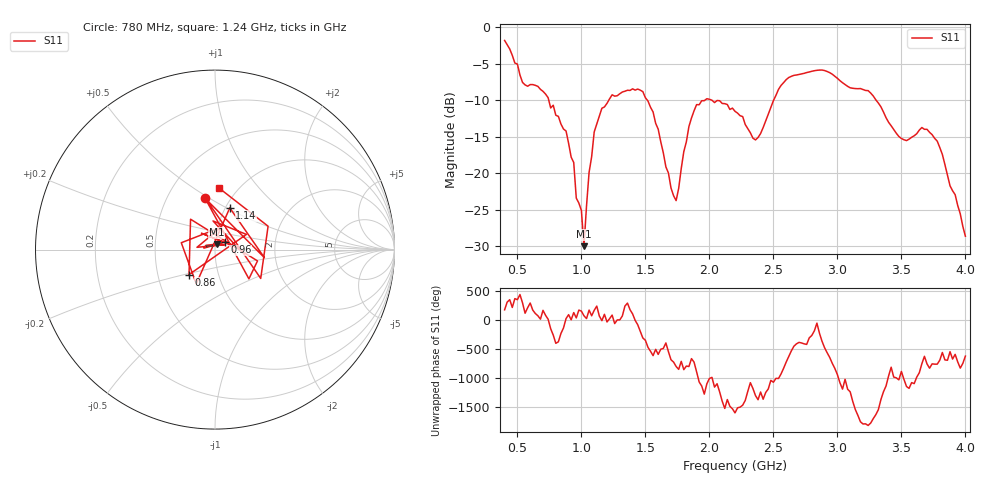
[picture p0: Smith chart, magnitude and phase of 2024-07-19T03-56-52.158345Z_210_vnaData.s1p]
!Created with skrf (http://scikit-rf.org).
# Hz S RI R 50.0
!freq ReS11 ImS11
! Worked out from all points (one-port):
!   181 points, 400 MHz to 4 GHz, reference 50 ohm
!   lowest |S11| = -30.0 dB at 1.02 GHz (marker M1), VSWR 1.07, Z = 50.8 + j3.09 ohm
!   |S11| at or under -10 dB: 744.9 MHz to 1.214 GHz (468.9 MHz wide, 47.9 % of centre); 2.02 GHz to 2.501 GHz (481.3 MHz wide, 21.3 % of centre); 3.303 GHz to end of sweep (the widest 3 of 4)
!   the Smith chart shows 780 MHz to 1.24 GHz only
!   S11 on the Smith chart (normalised r, x): 780 MHz: 0.76, +0.48; 860 MHz: 0.72, -0.21; 960 MHz: 1.11, +0.09; 1.14 GHz: 1.05, +0.52; 1.24 GHz: 0.82, +0.64
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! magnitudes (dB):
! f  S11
! 400 MHz  -1.8
! 540 MHz  -7.6
! 780 MHz  -10.7
! 860 MHz  -13.9
! 940 MHz  -18.5
! 960 MHz  -23.4
! 1 GHz  -25.1
! 1.02 GHz  -30.0
! 1.06 GHz  -19.9
! 1.1 GHz  -14.3
! 1.14 GHz  -12.2
! 1.24 GHz  -9.3
! 1.3 GHz  -9.1
! 1.48 GHz  -8.8
! 1.6 GHz  -14.0
! 1.72 GHz  -23.1
! 1.76 GHz  -22.1
! 1.84 GHz  -13.6
! 1.9 GHz  -10.6
! 2.2 GHz  -11.5
! 2.36 GHz  -15.4
! 2.66 GHz  -6.6
! 3.1 GHz  -8.3
! 3.24 GHz  -8.7
! 3.56 GHz  -15.3
! 3.66 GHz  -13.7
! 3.78 GHz  -15.6
! 4 GHz  -28.7
